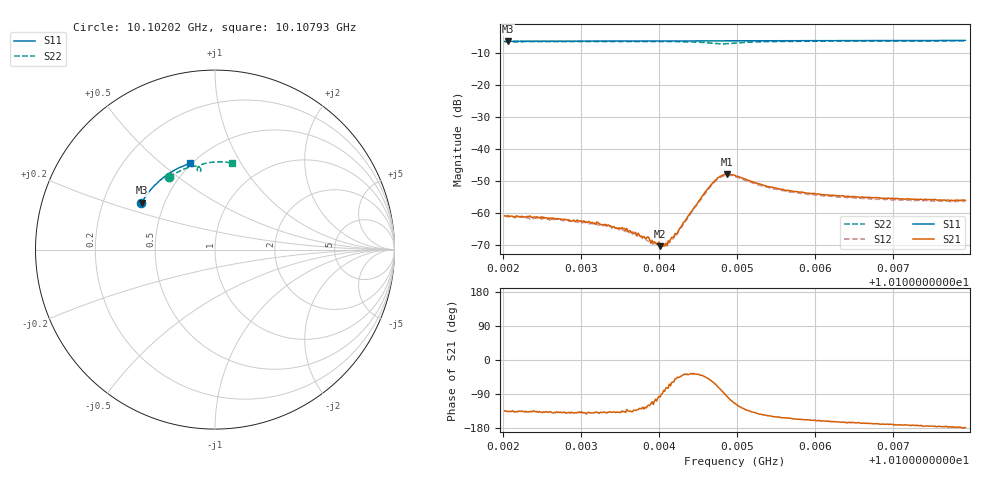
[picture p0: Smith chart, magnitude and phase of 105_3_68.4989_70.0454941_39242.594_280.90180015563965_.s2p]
#  HZ  S  RI  R  50.00
! Rohde & Schwarz Vector Network Analyzer
! Rohde-Schwarz,ZNB20-2Port,1311601062101988,3.16
! Created: UTC 3/20/2024, 5:08:23 PM
! freq[Hz]  re:S11  im:S11  re:S21  im:S21  re:S12  im:S12  re:S22  im:S22
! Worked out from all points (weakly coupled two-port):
!   401 points, 10.10202 GHz to 10.10793 GHz, reference 50 ohm
!   highest |S21| = -47.88 dB at 10.10487 GHz (marker M1); lowest = -70.4 dB at 10.10401 GHz (marker M2)
!   lowest |S11| = -6.3 dB at 10.10206 GHz (marker M3), VSWR 2.88, Z = 18.6 + j12.7 ohm
!   |S11| at or under -10 dB: nowhere
!   |S22| runs from -7.1 to -6.2 dB; largest |S21 - S12| = 0.00041
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1.0102018e10  -0.4103 0.2588  -0.000625 -0.000651  -0.000573 -0.000677  -0.2549 0.4035
1.0102062e10  -0.4088 0.261  -0.000656 -0.000626  -0.000557 -0.000666  -0.2525 0.4051
1.0103009e10  -0.3774 0.3094  -0.000534 -0.000501  -0.00049 -0.000498  -0.1989 0.4369
1.0103319e10  -0.3657 0.3244  -0.000498 -0.00043  -0.000444 -0.000438  -0.18 0.4457
1.0103556e10  -0.3566 0.3352  -0.000412 -0.000395  -0.000341 -0.000393  -0.1651 0.4518
1.0103719e10  -0.3501 0.343  -0.000287 -0.000328  -0.000263 -0.000352  -0.1543 0.4557
1.0103837e10  -0.3454 0.348  -0.000237 -0.000319  -0.000154 -0.000339  -0.1461 0.4583
1.0103926e10  -0.3417 0.3521  -0.000157 -0.000303  -8.91e-05 -0.000309  -0.14 0.4601
1.0104e10  -0.3386 0.3554  -3.78e-05 -0.000348  -2.37e-05 -0.000316  -0.1346 0.4616
1.0104015e10  -0.3379 0.3559  -4.14e-05 -0.000299  -5.32e-06 -0.000301  -0.1335 0.4617
1.0104074e10  -0.3355 0.3585  4.05e-05 -0.0003  7.28e-05 -0.00032  -0.1289 0.4628
1.0104162e10  -0.3316 0.3623  0.000211 -0.000353  0.000222 -0.000307  -0.1219 0.464
1.0104251e10  -0.3278 0.3661  0.000369 -0.000382  0.000383 -0.000346  -0.1147 0.4646
1.0104443e10  -0.3193 0.3742  0.000955 -0.000681  0.000979 -0.00059  -0.0972 0.4633
1.0104665e10  -0.3093 0.3832  0.0016 -0.00218  0.00172 -0.00197  -0.0791 0.4486
1.0104769e10  -0.3046 0.3872  0.00104 -0.00346  0.00131 -0.00321  -0.0816 0.437
1.0104872e10  -0.3 0.3912  -0.00041 -0.00401  -4.87e-05 -0.00385  -0.0928 0.4352
1.0104976e10  -0.2951 0.3952  -0.00161 -0.00352  -0.00125 -0.00349  -0.0989 0.4448
1.0105449e10  -0.2725 0.4128  -0.00214 -0.00131  -0.00192 -0.00143  -0.0704 0.4754
1.0105967e10  -0.2465 0.4302  -0.00188 -0.000721  -0.00175 -0.000869  -0.0333 0.4845
1.0106957e10  -0.1938 0.4587  -0.00165 -0.000309  -0.00156 -0.00042  0.0329 0.4883
1.0107934e10  -0.1389 0.4803  -0.00157 -5.33e-05  -0.00149 -0.000203  0.0957 0.4825
